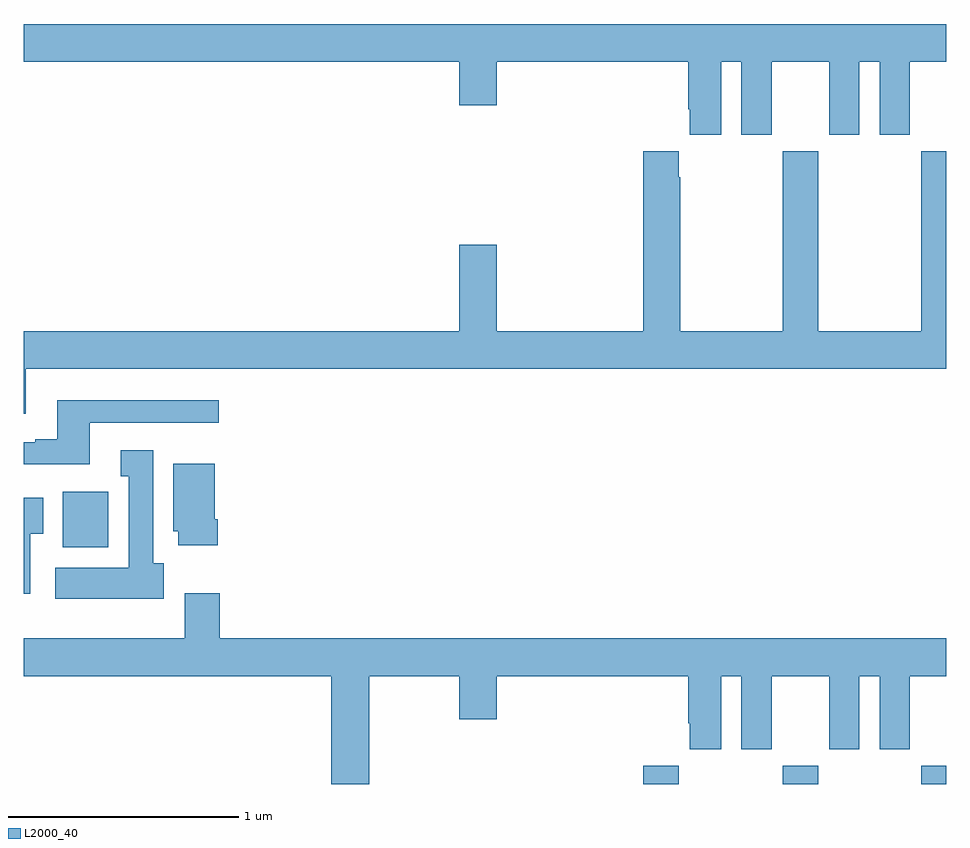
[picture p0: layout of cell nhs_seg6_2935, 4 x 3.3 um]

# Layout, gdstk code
import gdstk
lib = gdstk.Library(unit=1e-6, precision=1e-09)
def R(c, l, rs):  # rectangles x0, y0, x1, y1
    for r in rs: c.add(gdstk.rectangle(r[:2], r[2:], *l))
def P(c, l, *ps):  # polygons
    for p in ps: c.add(gdstk.Polygon(p, *l))
L2000_40 = (2000, 40)

nhs_seg6_2935 = lib.new_cell('nhs_seg6_2935')
R(nhs_seg6_2935, L2000_40, [(285.686,981.5,285.841,981.58), (286.291,981.5,286.446,981.58), (286.891,981.5,287,981.58), (283.169,982.526,283.366,982.768)])
P(nhs_seg6_2935, L2000_40, [(286.024,984.632),(286.112,984.632),(286.112,984.315),(286.243,984.315),(286.243,984.632),(286.493,984.632),(286.493,984.315),(286.624,984.315),(286.624,984.632),(286.712,984.632),(286.712,984.315),(286.843,984.315),(286.843,984.632),(287,984.632),(287,984.796),(283,984.796),(283,984.632),(284.888,984.632),(284.888,984.444),(285.052,984.444),(285.052,984.632),(285.881,984.632),(285.881,984.427),(285.887,984.427),(285.887,984.315),(286.024,984.315)],
  [(283.009,983.3),(287,983.3),(287,984.244),(286.891,984.244),(286.891,983.464),(286.446,983.464),(286.446,984.244),(286.291,984.244),(286.291,983.464),(285.846,983.464),(285.846,984.131),(285.841,984.131),(285.841,984.244),(285.686,984.244),(285.686,983.464),(285.052,983.464),(285.052,983.839),(284.888,983.839),(284.888,983.464),(283,983.464),(283,983.106),(283.009,983.106)],
  [(283.285,983.067),(283.846,983.067),(283.846,983.164),(283.145,983.164),(283.145,982.996),(283.049,982.996),(283.049,982.983),(283,982.983),(283,982.886),(283.285,982.886)],
  [(283.606,982.458),(283.561,982.458),(283.561,982.948),(283.421,982.948),(283.421,982.835),(283.454,982.835),(283.454,982.438),(283.137,982.438),(283.137,982.304),(283.606,982.304)],
  [(283.841,982.648),(283.828,982.648),(283.828,982.888),(283.649,982.888),(283.649,982.596),(283.67,982.596),(283.67,982.536),(283.841,982.536)],
  [(283.027,982.585),(283.084,982.585),(283.084,982.741),(283,982.741),(283,982.326),(283.027,982.326)],
  [(284.497,981.968),(284.888,981.968),(284.888,981.78),(285.052,981.78),(285.052,981.968),(285.881,981.968),(285.881,981.763),(285.887,981.763),(285.887,981.651),(286.024,981.651),(286.024,981.968),(286.112,981.968),(286.112,981.651),(286.243,981.651),(286.243,981.968),(286.493,981.968),(286.493,981.651),(286.624,981.651),(286.624,981.968),(286.712,981.968),(286.712,981.651),(286.843,981.651),(286.843,981.968),(287,981.968),(287,982.132),(283.85,982.132),(283.85,982.327),(283.697,982.327),(283.697,982.132),(283,982.132),(283,981.968),(284.333,981.968),(284.333,981.5),(284.497,981.5)])

lib.write_gds('nhs_seg6_2935.gds')
